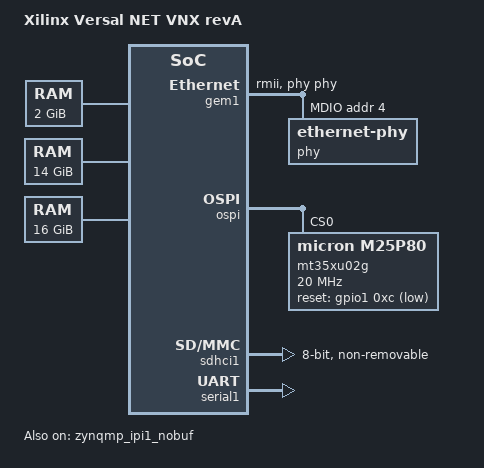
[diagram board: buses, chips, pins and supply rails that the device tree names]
// SPDX-License-Identifier: GPL-2.0
/*
 * dts file for Xilinx Versal Net VNX board revA
 *
 * (C) Copyright 2022, Xilinx, Inc.
 * (C) Copyright 2022 - 2023, Advanced Micro Devices, Inc.
 *
 * Michal Simek <michal.simek@amd.com>
 */

/dts-v1/;

#include "versal-net.dtsi"
#include "versal-net-clk-ccf.dtsi"
#include <dt-bindings/gpio/gpio.h>
#include <dt-bindings/power/xlnx-versal-net-power.h>

/ {
	compatible = "xlnx,versal-net-vnx-revA", "xlnx,versal-net-vnx", "xlnx,versal-net";
	model = "Xilinx Versal NET VNX revA";
	dma-coherent;

	memory: memory@0 {
		reg = <0 0 0 0x80000000>;
		device_type = "memory";
	};

	memory_hi: memory@800000000 {
		reg = <8 0 3 0x80000000>;
		device_type = "memory";
	};

	memory_hi2: memory@50000000000 {
		reg = <0x500 0 4 0>;
		device_type = "memory";
	};

	chosen {
		bootargs = "console=ttyAMA1,115200n8";
		stdout-path = "serial1:115200n8";
	};

	cdx {
		compatible = "xlnx,versal-net-cdx";
		status = "okay";
		#address-cells = <2>;
		#size-cells = <2>;
		ranges;
		dma-ranges = <0 0 0 0 0x10000 0>;
		iommu-map = <0x0 &smmu 0x0 0xfffff>;
		msi-map = <0x0 &its 0x0 0xffff>;
		xlnx,rproc = <&remoteproc_r52>;
	};

	reserved-memory {
		#address-cells = <2>;
		#size-cells = <2>;
		ranges;
		rsc_tbl_carveout: rproc@bbf14000 {
			reg = <0 0xbbf14000 0 0x1000>;
			no-map;
		};
		rpu0vdev0vring0: rpu0vdev0vring0@bbf15000 {
			reg = <0 0xbbf15000 0 0x1000>;
			no-map;
		};
		rpu0vdev0vring1: rpu0vdev0vring1@bbf16000 {
			reg = <0 0xbbf16000 0 0x1000>;
			no-map;
		};
		rpu0vdev0buffer: rpu0vdev0buffer@bbf17000 {
			reg = <0 0xbbf17000 0 0xD000>;
			no-map;
		};
		reserve_others: reserveothers@0 {
			reg = <0 0x0 0 0x1c200000>;
			no-map;
		};
		pdi_update: pdiupdate@1c200000 {
			reg = <0 0x1c200000 0 0x6000000>;
			no-map;
		};
		reserve_optee_atf: reserveopteeatf@22200000 {
			reg = <0 0x22200000 0 0x4100000>;
			no-map;
		};
	};

	zynqmp_ipi1_nobuf {
		compatible = "xlnx,versal-ipi-mailbox";
		reg = <0x00 0xeb3b0000 0x00 0x1ff>;
		reg-names = "ctrl";
		status = "okay";
		interrupts = <0 64 4>;
		xlnx,ipi-id = <10>;
		#address-cells = <2>;
		#size-cells = <2>;
		ranges;
		ipi_mailbox_rpu0: mailbox@eb3b1000 {
			#mbox-cells = <1>;
			xlnx,ipi-id = <11>;
			reg = <0 0xeb3b1000 0 0x1000>;
			reg-names = "ctrl";
		};
	};

	r52ss@ff9a0000 {
		compatible = "xlnx,versal-net-r52-remoteproc";
		#address-cells = <2>;
		#size-cells = <2>;
		ranges;
		reg = <0 0xff9a0000 0 0x10000>;
		xlnx,cluster-mode = <1>;
		remoteproc_r52: r52_0 {
			compatible = "xilinx,r52";
			memory-region = <&rsc_tbl_carveout>, <&rpu0vdev0buffer>,
				<&rpu0vdev0vring0>, <&rpu0vdev0vring1>;
			power-domain = <&versal_net_firmware PM_DEV_RPU_A_0>;
			mboxes = <&ipi_mailbox_rpu0 0>, <&ipi_mailbox_rpu0 1>;
			mbox-names = "tx", "rx";
			xlnx,rsc-tbl = <&rsc_tbl_carveout 0xbbf14000>;
		};
	};
};

&gem1 {
	status = "okay";
	iommus = <&smmu 0x235>;
	phy-handle = <&phy>;
	phy-mode = "rmii";
	mdio {
		#address-cells = <1>;
		#size-cells = <0>;
		phy: ethernet-phy@4 {
			reg = <4>;
		};
	};
};

&ospi {
	num-cs = <2>;
	iommus = <&smmu 0x245>;
	reset-names = "qspi";
	#address-cells = <1>;
	#size-cells = <0>;
	reset-names = "qspi";
	mt35xu02g: flash@0 {
		compatible = "micron,m25p80", "jedec,spi-nor";
		reg = <0>, <1>;
		stacked-memories = /bits/ 64 <0x8000000 0x8000000>; /* 128MB */
		#address-cells = <1>;
		#size-cells = <1>;
		cdns,read-delay = <0>;
		cdns,tshsl-ns = <0>;
		cdns,tsd2d-ns = <0>;
		cdns,tchsh-ns = <1>;
		cdns,tslch-ns = <1>;
		spi-tx-bus-width = <8>;
		spi-rx-bus-width = <8>;
		spi-max-frequency = <20000000>;
		broken-flash-reset;
		reset-gpios = <&gpio1 0xc GPIO_ACTIVE_LOW>;
	};
};

&usb1 {
	iommus = <&smmu 0x232>;
};

&sdhci1 {
	status = "okay";
	iommus = <&smmu 0x243>;
	non-removable;
	disable-wp;
	bus-width = <8>;
	no-1-8-v;
};

&serial1 {
	status = "okay";
	skip-init;
};

&smmu {
	status = "okay";
};

&versal_fpga {
	dma-noncoherent;
};
